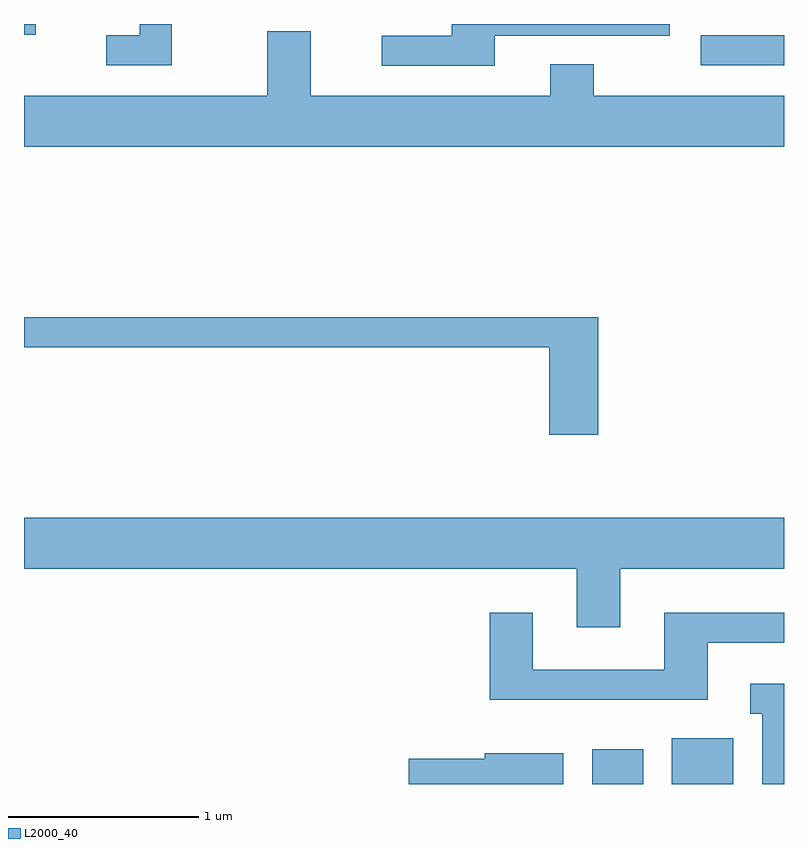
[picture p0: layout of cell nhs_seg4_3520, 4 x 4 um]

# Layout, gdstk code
import gdstk
lib = gdstk.Library(unit=1e-6, precision=1e-09)
def R(c, l, rs):  # rectangles x0, y0, x1, y1
    for r in rs: c.add(gdstk.rectangle(r[:2], r[2:], *l))
def P(c, l, *ps):  # polygons
    for p in ps: c.add(gdstk.Polygon(p, *l))
L2000_40 = (2000, 40)

nhs_seg4_3520 = lib.new_cell('nhs_seg4_3520')
R(nhs_seg4_3520, L2000_40, [(290.601,1357.982,290.869,1358.164), (291.021,1357.982,291.344,1358.224), (291.173,1361.766,291.611,1361.924), (287.611,1361.926,287.674,1361.982)])
P(nhs_seg4_3520, L2000_40, [(290.089,1361.921),(291.009,1361.921),(291.009,1361.982),(289.861,1361.982),(289.861,1361.919),(289.493,1361.919),(289.493,1361.761),(290.089,1361.761)],
  [(288.389,1361.982),(288.221,1361.982),(288.221,1361.924),(288.043,1361.924),(288.043,1361.766),(288.389,1361.766)],
  [(291.611,1361.604),(290.609,1361.604),(290.609,1361.769),(290.381,1361.769),(290.381,1361.604),(289.119,1361.604),(289.119,1361.944),(288.891,1361.944),(288.891,1361.604),(287.611,1361.604),(287.611,1361.336),(291.611,1361.336)],
  [(290.634,1360.439),(287.611,1360.439),(287.611,1360.281),(290.376,1360.281),(290.376,1359.821),(290.634,1359.821)],
  [(290.749,1359.116),(291.611,1359.116),(291.611,1359.384),(287.611,1359.384),(287.611,1359.116),(290.521,1359.116),(290.521,1358.806),(290.749,1358.806)],
  [(291.209,1358.726),(291.611,1358.726),(291.611,1358.884),(290.981,1358.884),(290.981,1358.584),(290.289,1358.584),(290.289,1358.884),(290.061,1358.884),(290.061,1358.426),(291.209,1358.426)],
  [(291.611,1358.509),(291.433,1358.509),(291.433,1358.351),(291.496,1358.351),(291.496,1357.982),(291.611,1357.982)],
  [(290.449,1358.144),(290.036,1358.144),(290.036,1358.114),(289.636,1358.114),(289.636,1357.982),(290.449,1357.982)])

lib.write_gds('nhs_seg4_3520.gds')
